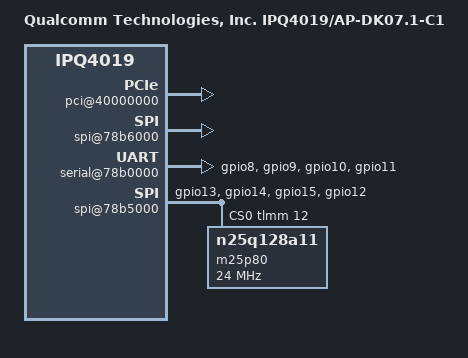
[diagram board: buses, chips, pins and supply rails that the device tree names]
// SPDX-License-Identifier: GPL-2.0
// Copyright (c) 2018, The Linux Foundation. All rights reserved.

#include "qcom-ipq4019-ap.dk07.1.dtsi"

/ {
	model = "Qualcomm Technologies, Inc. IPQ4019/AP-DK07.1-C1";
	compatible = "qcom,ipq4019-ap-dk07.1-c1";

	soc {
		pci@40000000 {
			status = "okay";
			perst-gpio = <&tlmm 38 0x1>;
		};

		spi@78b6000 {
			status = "okay";
		};

		pinctrl@1000000 {
			serial_1_pins: serial1-pinmux {
				pins = "gpio8", "gpio9",
					"gpio10", "gpio11";
				function = "blsp_uart1";
				bias-disable;
			};

			spi_0_pins: spi-0-pinmux {
				pinmux {
					function = "blsp_spi0";
					pins = "gpio13", "gpio14", "gpio15";
					bias-disable;
				};
				pinmux_cs {
					function = "gpio";
					pins = "gpio12";
					bias-disable;
					output-high;
				};
			};
		};

		serial@78b0000 {
			pinctrl-0 = <&serial_1_pins>;
			pinctrl-names = "default";
			status = "okay";
		};

		spi@78b5000 {
			pinctrl-0 = <&spi_0_pins>;
			pinctrl-names = "default";
			status = "okay";
			cs-gpios = <&tlmm 12 0>;

			m25p80@0 {
				#address-cells = <1>;
				#size-cells = <1>;
				reg = <0>;
				compatible = "n25q128a11";
				spi-max-frequency = <24000000>;
			};
		};
	};
};
